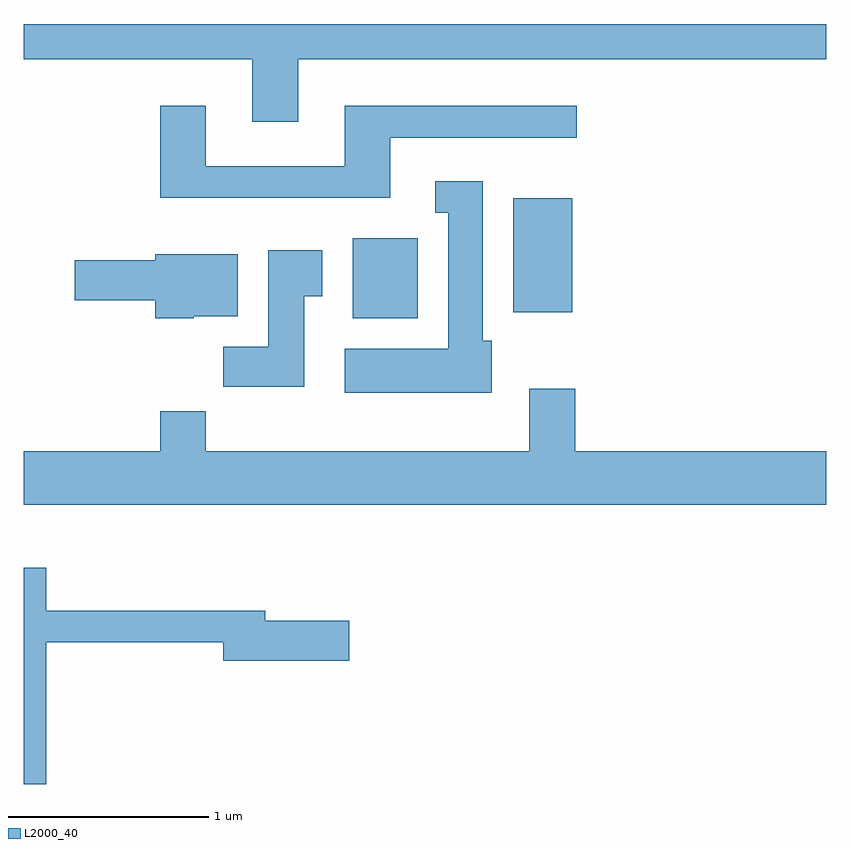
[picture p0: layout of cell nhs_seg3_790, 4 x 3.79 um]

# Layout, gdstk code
import gdstk
lib = gdstk.Library(unit=1e-6, precision=1e-09)
def R(c, l, rs):  # rectangles x0, y0, x1, y1
    for r in rs: c.add(gdstk.rectangle(r[:2], r[2:], *l))
def P(c, l, *ps):  # polygons
    for p in ps: c.add(gdstk.Polygon(p, *l))
L2000_40 = (2000, 40)

nhs_seg3_790 = lib.new_cell('nhs_seg3_790')
R(nhs_seg3_790, L2000_40, [(209.251,1202.426,209.574,1202.824), (210.051,1202.456,210.344,1203.024)])
P(nhs_seg3_790, L2000_40, [(208.979,1203.716),(211.611,1203.716),(211.611,1203.892),(207.611,1203.892),(207.611,1203.716),(208.751,1203.716),(208.751,1203.406),(208.979,1203.406)],
  [(209.439,1203.326),(210.368,1203.326),(210.368,1203.484),(209.211,1203.484),(209.211,1203.184),(208.519,1203.184),(208.519,1203.484),(208.291,1203.484),(208.291,1203.026),(209.439,1203.026)],
  [(209.944,1202.314),(209.899,1202.314),(209.899,1203.109),(209.663,1203.109),(209.663,1202.951),(209.726,1202.951),(209.726,1202.274),(209.211,1202.274),(209.211,1202.056),(209.944,1202.056)],
  [(209.009,1202.536),(209.099,1202.536),(209.099,1202.764),(208.831,1202.764),(208.831,1202.284),(208.606,1202.284),(208.606,1202.086),(209.009,1202.086)],
  [(208.46,1202.436),(208.679,1202.436),(208.679,1202.744),(208.266,1202.744),(208.266,1202.714),(207.866,1202.714),(207.866,1202.516),(208.266,1202.516),(208.266,1202.426),(208.46,1202.426)],
  [(211.611,1201.764),(210.359,1201.764),(210.359,1202.074),(210.131,1202.074),(210.131,1201.764),(208.519,1201.764),(208.519,1201.964),(208.291,1201.964),(208.291,1201.764),(207.611,1201.764),(207.611,1201.496),(211.611,1201.496)],
  [(207.724,1200.811),(208.606,1200.811),(208.606,1200.721),(209.234,1200.721),(209.234,1200.919),(208.814,1200.919),(208.814,1200.969),(207.724,1200.969),(207.724,1201.184),(207.611,1201.184),(207.611,1200.106),(207.724,1200.106)])

lib.write_gds('nhs_seg3_790.gds')
